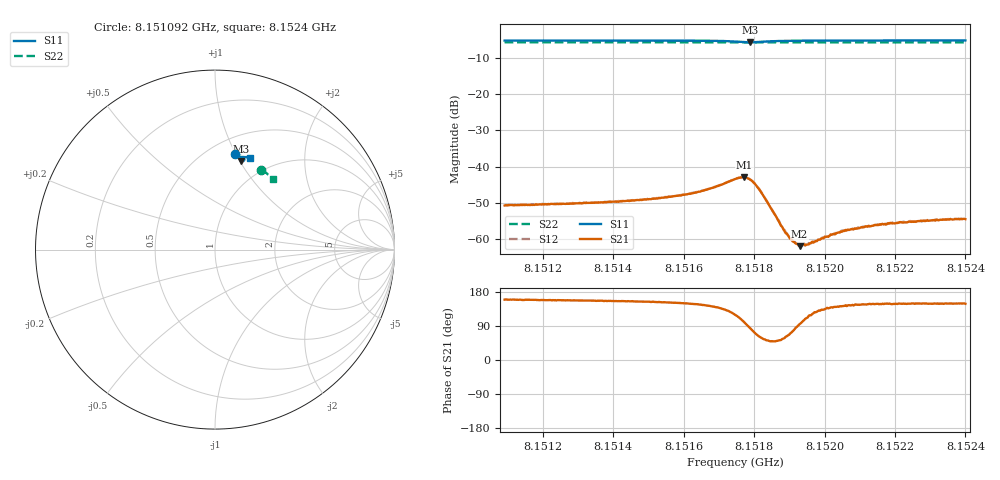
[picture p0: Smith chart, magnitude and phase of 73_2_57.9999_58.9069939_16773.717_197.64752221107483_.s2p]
#  HZ  S  RI  R  50.00
! Rohde & Schwarz Vector Network Analyzer
! Rohde-Schwarz,ZNB20-2Port,1311601062101988,3.16
! Created: UTC 3/21/2024, 12:53:29 AM
! freq[Hz]  re:S11  im:S11  re:S21  im:S21  re:S12  im:S12  re:S22  im:S22
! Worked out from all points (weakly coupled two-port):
!   401 points, 8.151092 GHz to 8.1524 GHz, reference 50 ohm
!   highest |S21| = -42.97 dB at 8.151772 GHz (marker M1); lowest = -61.9 dB at 8.151929 GHz (marker M2)
!   lowest |S11| = -5.8 dB at 8.151788 GHz (marker M3), VSWR 3.11, Z = 38 + j50.8 ohm
!   |S11| at or under -10 dB: nowhere
!   |S22| runs from -5.8 to -5.8 dB; largest |S21 - S12| = 0.00017
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8.151092e9  0.1107 0.5316  -0.00272 0.00103  -0.00273 0.00108  0.2575 0.445
8.1513111e9  0.1268 0.5283  -0.00286 0.00121  -0.00286 0.00126  0.2696 0.4376
8.1514157e9  0.1349 0.5263  -0.00297 0.00135  -0.00302 0.00146  0.2752 0.4339
8.1515301e9  0.144 0.5235  -0.00327 0.00166  -0.00328 0.00176  0.2815 0.4298
8.1516021e9  0.1506 0.5208  -0.00352 0.00207  -0.00356 0.00212  0.2851 0.4271
8.1516511e9  0.1557 0.5178  -0.0038 0.00259  -0.00378 0.00269  0.2878 0.425
8.1516969e9  0.161 0.5126  -0.00405 0.00355  -0.00401 0.00366  0.2901 0.4233
8.1517459e9  0.1632 0.5003  -0.00335 0.00582  -0.00326 0.00593  0.2926 0.4208
8.1517721e9  0.1559 0.4922  -0.00119 0.007  -0.00112 0.00708  0.2935 0.4198
8.1517884e9  0.1476 0.4919  0.000672 0.00658  0.000788 0.00665  0.294 0.4193
8.1518015e9  0.1421 0.4956  0.0018 0.00555  0.00189 0.00557  0.2945 0.419
8.1518178e9  0.1391 0.5022  0.00229 0.00399  0.00238 0.00398  0.2954 0.4189
8.1518832e9  0.1481 0.5162  0.000751 0.00113  0.000787 0.00115  0.2991 0.4168
8.1518963e9  0.1502 0.5169  0.000474 0.00102  0.000486 0.00103  0.2998 0.4162
8.1519126e9  0.1527 0.5176  0.000186 0.000911  0.000221 0.000895  0.3007 0.4155
8.151929e9  0.1549 0.5178  -5.76e-05 0.000798  -6.64e-05 0.000819  0.3016 0.415
8.1519453e9  0.1568 0.5178  -0.000265 0.000781  -0.000271 0.000762  0.3026 0.4144
8.151965e9  0.1591 0.5178  -0.000477 0.000788  -0.00047 0.000773  0.3036 0.4136
8.1519976e9  0.1625 0.5176  -0.000702 0.000754  -0.000721 0.000777  0.3053 0.4124
8.1520532e9  0.1677 0.5167  -0.00103 0.000789  -0.00104 0.0008  0.3081 0.4102
8.152184e9  0.1782 0.5141  -0.0014 0.000848  -0.00141 0.000891  0.3148 0.4047
8.1523998e9  0.1937 0.5092  -0.00161 0.000989  -0.00163 0.00102  0.3255 0.3959
